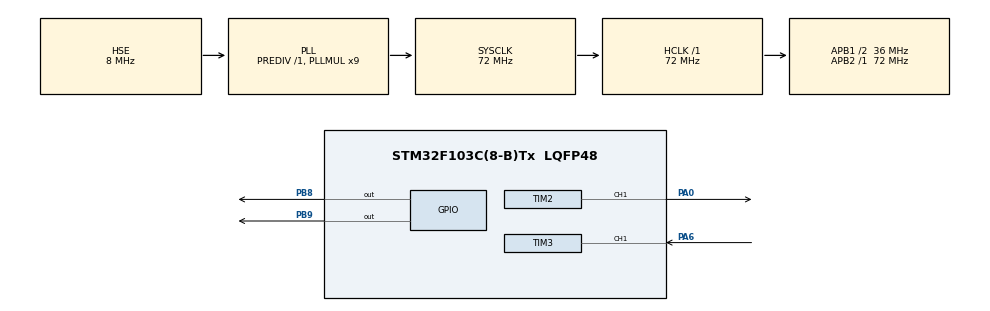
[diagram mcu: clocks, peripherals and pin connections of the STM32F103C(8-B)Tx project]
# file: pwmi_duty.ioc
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Mcu.Family=STM32F1
Mcu.Name=STM32F103C(8-B)Tx
Mcu.Package=LQFP48
NVIC.PriorityGroup=NVIC_PRIORITYGROUP_4
NVIC.TIM3_IRQn=true\:0\:0\:false\:false\:true\:true\:true\:true
PA0-WKUP.Signal=S_TIM2_CH1_ETR
PA13.Mode=Serial_Wire
PA13.Signal=SYS_JTMS-SWDIO
PA14.Mode=Serial_Wire
PA14.Signal=SYS_JTCK-SWCLK
PA6.Signal=S_TIM3_CH1
PB8.GPIO_ModeDefaultOutputPP=GPIO_MODE_OUTPUT_OD
PB8.GPIO_PuPd=GPIO_NOPULL
PB8.Signal=GPIO_Output
PB9.GPIO_ModeDefaultOutputPP=GPIO_MODE_OUTPUT_OD
PB9.GPIO_PuPd=GPIO_NOPULL
PB9.Signal=GPIO_Output
PD0-OSC_IN.Mode=HSE-External-Oscillator
PD0-OSC_IN.Signal=RCC_OSC_IN
PD1-OSC_OUT.Mode=HSE-External-Oscillator
PD1-OSC_OUT.Signal=RCC_OSC_OUT
ProjectManager.HeapSize=0x200
ProjectManager.StackSize=0x400
ProjectManager.TargetToolchain=CMake
RCC.AHBFreq_Value=72000000
RCC.APB1CLKDivider=RCC_HCLK_DIV2
RCC.APB1Freq_Value=36000000
RCC.APB1TimFreq_Value=72000000
RCC.APB2Freq_Value=72000000
RCC.APB2TimFreq_Value=72000000
RCC.HCLKFreq_Value=72000000
RCC.PLLMUL=RCC_PLL_MUL9
RCC.PLLSourceVirtual=RCC_PLLSOURCE_HSE
RCC.SYSCLKFreq_VALUE=72000000
RCC.SYSCLKSource=RCC_SYSCLKSOURCE_PLLCLK
RCC.USBFreq_Value=72000000
SH.S_TIM2_CH1_ETR.0=TIM2_CH1,PWM Generation1 CH1
SH.S_TIM3_CH1.0=TIM3_CH1,Input_Capture1_from_TI1
SH.S_TIM3_CH1.1=TIM3_CH1,TriggerSource_TI1FP1
TIM2.Channel-PWM\ Generation1\ CH1=TIM_CHANNEL_1
TIM2.Period=100-1
TIM2.Prescaler=72-1
TIM2.Pulse-PWM\ Generation1\ CH1=50
TIM3.Channel-Input_Capture1_from_TI1=TIM_CHANNEL_1
TIM3.Channel-Input_Capture2_from_TI1_63=TIM_CHANNEL_2
TIM3.ICPolarity_CH2=TIM_INPUTCHANNELPOLARITY_FALLING
TIM3.Prescaler=72-1
VP_TIM2_VS_ClockSourceINT.Mode=Internal
VP_TIM3_VS_ClockSourceINT.Mode=Internal
VP_TIM3_VS_ControllerModeReset.Mode=Reset Mode
VP_TIM3_VS_indirect_ch1.Mode=Input_Capture2_from_TI1_63
board=custom

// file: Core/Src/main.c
/* USER CODE BEGIN Header */
/**
  ******************************************************************************
  * @file           : main.c
  * @brief          : Main program body
  ******************************************************************************
  * @attention
  *
  * Copyright (c) 2026 STMicroelectronics.
  * All rights reserved.
  *
  * This software is licensed under terms that can be found in the LICENSE file
  * in the root directory of this software component.
  * If no LICENSE file comes with this software, it is provided AS-IS.
  *
  ******************************************************************************
  */
/* USER CODE END Header */
#include "main.h"
#include "tim.h"
#include "gpio.h"

/* USER CODE BEGIN Includes */
#include "OLED.h"
/* USER CODE END Includes */

/* USER CODE BEGIN PV */
int32_t freq;
uint32_t duty;
uint32_t capture;
/* USER CODE END PV */

void SystemClock_Config(void);

/* USER CODE BEGIN 0 */
void HAL_TIM_IC_CaptureCallback(TIM_HandleTypeDef *htim)
{
  if(htim -> Instance == TIM3)
  {
    //上升沿出发中断
    if(htim -> Channel == HAL_TIM_ACTIVE_CHANNEL_1)
    {
      capture = HAL_TIM_ReadCapturedValue(htim,TIM_CHANNEL_1) + 1;
      freq = 1000000 / capture;
    }
    //下降沿触发中断
    else if(htim -> Channel == HAL_TIM_ACTIVE_CHANNEL_2)
    {
      uint32_t capture2 = HAL_TIM_ReadCapturedValue(htim,TIM_CHANNEL_2) + 1;
      duty = capture2 * 100 / capture;
    }
  }
}
/* USER CODE END 0 */

int main(void)
{

  /* MCU Configuration--------------------------------------------------------*/

  /* Reset of all peripherals, Initializes the Flash interface and the Systick. */
  HAL_Init();

  /* Configure the system clock */
  SystemClock_Config();

  /* Initialize all configured peripherals */
  MX_GPIO_Init();
  MX_TIM2_Init();
  MX_TIM3_Init();
  /* USER CODE BEGIN 2 */
  OLED_Init();
  HAL_TIM_PWM_Start(&htim2,TIM_CHANNEL_1);
  HAL_TIM_IC_Start_IT(&htim3,TIM_CHANNEL_1);  //打开输入捕获周期
  HAL_TIM_IC_Start_IT(&htim3,TIM_CHANNEL_2);  //打开输入捕获占空比
  OLED_Clear();
  OLED_ShowString(1,1,"Freq:000000HZ");
  OLED_ShowString(2,1,"Duty:000%");
  /* USER CODE END 2 */

  /* Infinite loop */
  /* USER CODE BEGIN WHILE */
  while (1)
  {
    OLED_ShowSignedNum(1,6,freq,5);
    OLED_ShowSignedNum(2,6,duty,2);
    /* USER CODE END WHILE */

  }
}

void SystemClock_Config(void)
{
  RCC_OscInitTypeDef RCC_OscInitStruct = {0};
  RCC_ClkInitTypeDef RCC_ClkInitStruct = {0};

  /** Initializes the RCC Oscillators according to the specified parameters
  * in the RCC_OscInitTypeDef structure.
  */
  RCC_OscInitStruct.OscillatorType = RCC_OSCILLATORTYPE_HSE;
  RCC_OscInitStruct.HSEState = RCC_HSE_ON;
  RCC_OscInitStruct.HSEPredivValue = RCC_HSE_PREDIV_DIV1;
  RCC_OscInitStruct.HSIState = RCC_HSI_ON;
  RCC_OscInitStruct.PLL.PLLState = RCC_PLL_ON;
  RCC_OscInitStruct.PLL.PLLSource = RCC_PLLSOURCE_HSE;
  RCC_OscInitStruct.PLL.PLLMUL = RCC_PLL_MUL9;
  if (HAL_RCC_OscConfig(&RCC_OscInitStruct) != HAL_OK)
  {
    Error_Handler();
  }

  /** Initializes the CPU, AHB and APB buses clocks
  */
  RCC_ClkInitStruct.ClockType = RCC_CLOCKTYPE_HCLK|RCC_CLOCKTYPE_SYSCLK
                              |RCC_CLOCKTYPE_PCLK1|RCC_CLOCKTYPE_PCLK2;
  RCC_ClkInitStruct.SYSCLKSource = RCC_SYSCLKSOURCE_PLLCLK;
  RCC_ClkInitStruct.AHBCLKDivider = RCC_SYSCLK_DIV1;
  RCC_ClkInitStruct.APB1CLKDivider = RCC_HCLK_DIV2;
  RCC_ClkInitStruct.APB2CLKDivider = RCC_HCLK_DIV1;

  if (HAL_RCC_ClockConfig(&RCC_ClkInitStruct, FLASH_LATENCY_2) != HAL_OK)
  {
    Error_Handler();
  }
}

void Error_Handler(void)
{
  __disable_irq();
  while (1)
  {
  }
}
